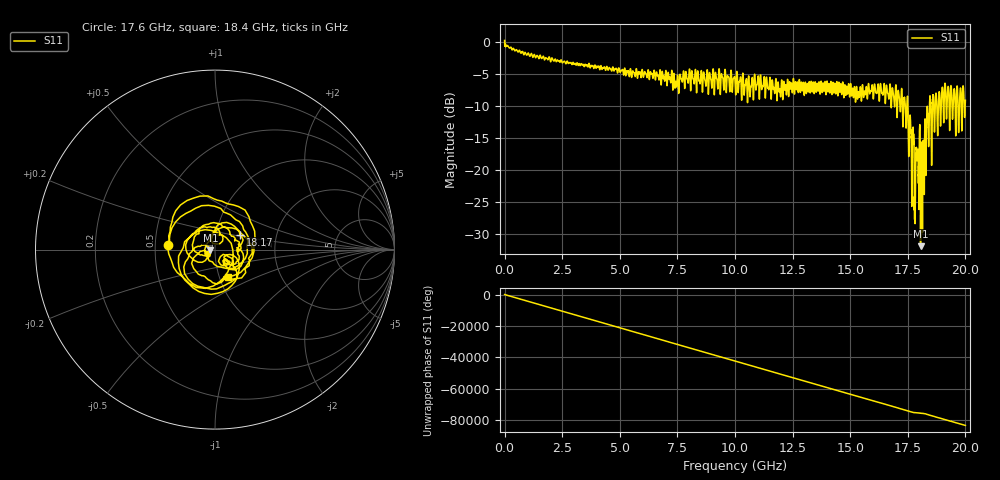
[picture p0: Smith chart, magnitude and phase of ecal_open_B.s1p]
! MS46122B
! 2250307/22442219
! 6/13/2025 3:23:46 PM
! C:\USERS\SPARKY\DOCUMENTS\VNA_DATA\JUNE13_2025\3.2K\ECAL_OPEN_C.S1P
! CHANNEL.1
! TR.MEASUREMENT
! RAW.DATA
# GHZ S RI R 50.0
! FREQ.GHZ  S11RE  S11IM
!; PortSelection: Port_1
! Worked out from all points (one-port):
!   10001 points, 1 MHz to 20 GHz, reference 50 ohm
!   lowest |S11| = -31.9 dB at 18.05 GHz (marker M1), VSWR 1.05, Z = 47.5 - j0.366 ohm
!   |S11| at or under -10 dB: 17.39322 GHz to 17.45774 GHz (64.52 MHz wide, 0.37 % of centre); 17.5 GHz to 18.44 GHz (937.4 MHz wide, 5.22 % of centre); 18.49776 GHz to 18.56917 GHz (71.42 MHz wide, 0.385 % of centre) (the widest 3 of 19)
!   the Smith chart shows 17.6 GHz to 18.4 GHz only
!   S11 on the Smith chart (normalised r, x): 17.6 GHz: 0.59, +0.03; 18.17 GHz: 1.30, +0.22; 18.4 GHz: 1.10, -0.35
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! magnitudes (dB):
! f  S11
! 1 MHz  0.2
! 2.501 GHz  -3.2
! 5.001 GHz  -4.6
! 7.501 GHz  -5.2
! 10 GHz  -5.9
! 12.5 GHz  -7.4
! 15 GHz  -7.1
! 16.65 GHz  -8.3
! 17.16 GHz  -10.2
! 17.42 GHz  -12.8
! 17.5 GHz  -9.2
! 17.55 GHz  -16.4
! 17.6 GHz  -11.6
! 17.68 GHz  -24.8
! 17.75 GHz  -14.3
! 17.8 GHz  -27.7
! 17.88 GHz  -17.4
! 17.94 GHz  -16.7
! 18.05 GHz  -31.9
! 18.17 GHz  -15.8
! 18.4 GHz  -15.4
! 18.6 GHz  -8.3
! 18.67 GHz  -13.5
! 18.86 GHz  -7.9
! 19.05 GHz  -12.4
! 19.58 GHz  -14.5
! 19.65 GHz  -7.0
! 20 GHz  -9.1
